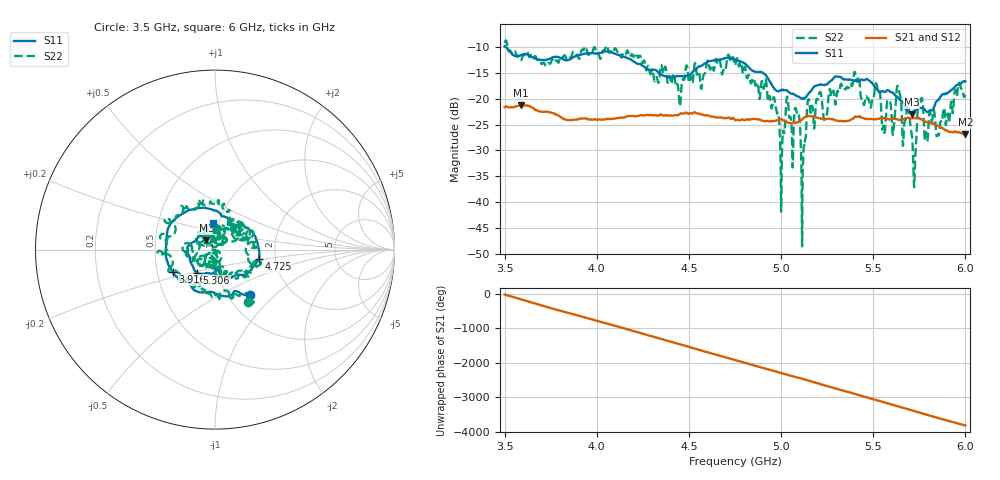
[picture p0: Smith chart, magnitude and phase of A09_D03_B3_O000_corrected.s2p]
! Created with skrf 1.9.0 (http://scikit-rf.org).
# Hz S RI R 50.0
!freq ReS11 ImS11 ReS21 ImS21 ReS12 ImS12 ReS22 ImS22
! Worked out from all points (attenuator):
!   1601 points, 3.5 GHz to 6 GHz, reference 50 ohm
!   highest |S21| = -21.24 dB at 3.591 GHz (marker M1); lowest = -26.9 dB at 6 GHz (marker M2)
!   lowest |S11| = -23.0 dB at 5.708 GHz (marker M3), VSWR 1.15, Z = 45.2 + j4.71 ohm
!   |S11| at or under -10 dB: 3.506 GHz to end of sweep
!   |S22| runs from -48.5 to -8.7 dB; largest |S21 - S12| = 0.00099
!   S11 on the Smith chart (normalised r, x): 3.5 GHz: 1.26, -0.72; 3.916 GHz: 0.60, -0.16; 4.725 GHz: 1.63, -0.18; 5.306 GHz: 0.79, -0.21; 6 GHz: 0.94, +0.28
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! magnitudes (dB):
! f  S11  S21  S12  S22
! 3.5 GHz  -9.8  -21.7  -21.6  -9.2
! 3.591 GHz  -11.5  -21.2  -21.2  -12.5
! 3.916 GHz  -11.5  -23.9  -23.8  -10.8
! 3.917 GHz  -11.5  -23.8  -23.8  -10.6
! 4.334 GHz  -14.9  -23.3  -23.2  -16.9
! 4.725 GHz  -12.1  -23.9  -23.8  -12.9
! 4.75 GHz  -12.5  -24.1  -24.0  -13.6
! 4.911 GHz  -15.2  -24.4  -24.3  -17.0
! 5.005 GHz  -18.2  -24.0  -24.0  -30.7
! 5.033 GHz  -18.4  -24.6  -24.5  -19.6
! 5.086 GHz  -19.5  -24.6  -24.6  -22.7
! 5.12 GHz  -20.0  -23.8  -23.7  -30.9
! 5.144 GHz  -19.3  -23.3  -23.2  -20.7
! 5.167 GHz  -18.3  -23.4  -23.4  -21.4
! 5.306 GHz  -15.7  -24.3  -24.2  -18.5
! 5.584 GHz  -18.4  -24.0  -23.9  -20.3
! 5.638 GHz  -19.9  -24.1  -24.1  -18.1
! 5.708 GHz  -23.0  -23.8  -23.8  -26.5
! 5.725 GHz  -22.3  -23.7  -23.7  -34.3
! 5.756 GHz  -21.8  -23.9  -23.9  -20.8
! 5.787 GHz  -22.5  -24.5  -24.4  -26.6
! 6 GHz  -16.6  -26.9  -26.8  -19.3
